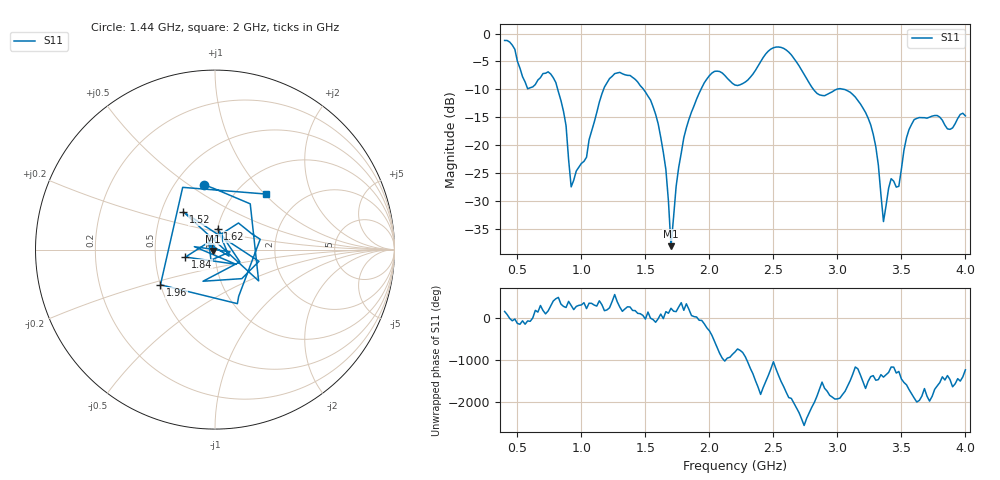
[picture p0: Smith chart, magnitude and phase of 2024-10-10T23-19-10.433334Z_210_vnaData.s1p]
! Created with skrf (http://scikit-rf.org).
# Hz S RI R 50.0
!freq ReS11 ImS11
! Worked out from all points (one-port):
!   181 points, 400 MHz to 4 GHz, reference 50 ohm
!   lowest |S11| = -38.1 dB at 1.7 GHz (marker M1), VSWR 1.03, Z = 49 - j0.764 ohm
!   |S11| at or under -10 dB: 814.7 MHz to 1.173 GHz (358.8 MHz wide, 36.1 % of centre); 1.485 GHz to 1.935 GHz (449.8 MHz wide, 26.3 % of centre); 3.046 GHz to end of sweep (the widest 3 of 4)
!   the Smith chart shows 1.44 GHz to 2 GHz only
!   S11 on the Smith chart (normalised r, x): 1.44 GHz: 0.69, +0.57; 1.52 GHz: 0.65, +0.29; 1.62 GHz: 1.00, +0.24; 1.84 GHz: 0.72, -0.06; 1.96 GHz: 0.50, -0.23; 2 GHz: 1.35, +1.01
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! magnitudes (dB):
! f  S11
! 400 MHz  -1.2
! 580 MHz  -9.9
! 760 MHz  -7.3
! 860 MHz  -13.9
! 920 MHz  -27.5
! 1.04 GHz  -22.2
! 1.18 GHz  -9.6
! 1.3 GHz  -7.0
! 1.44 GHz  -8.7
! 1.52 GHz  -11.2
! 1.62 GHz  -18.6
! 1.66 GHz  -24.4
! 1.7 GHz  -38.1
! 1.76 GHz  -24.0
! 1.84 GHz  -15.4
! 1.96 GHz  -8.8
! 2 GHz  -7.5
! 2.2 GHz  -9.2
! 2.5 GHz  -2.6
! 2.66 GHz  -4.4
! 2.84 GHz  -10.7
! 3.1 GHz  -10.5
! 3.28 GHz  -18.1
! 3.36 GHz  -33.7
! 3.42 GHz  -26.0
! 3.48 GHz  -27.4
! 3.56 GHz  -17.2
! 4 GHz  -14.8
